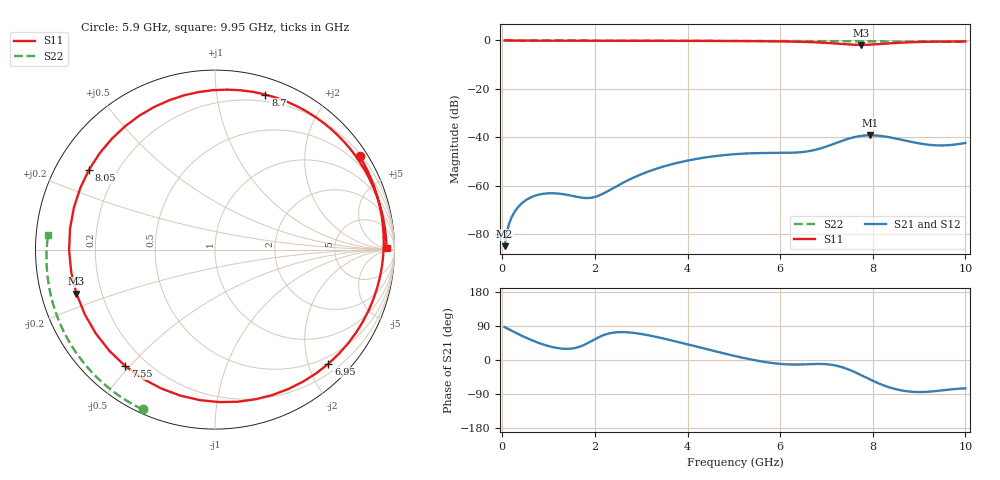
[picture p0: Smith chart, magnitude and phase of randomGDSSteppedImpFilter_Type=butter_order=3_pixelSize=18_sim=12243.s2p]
! freq	dB(S11)	phase(S11)	dB(S12)	phase(S12)
!  dB(S21)	phase(S21)	dB(S22)	phase(S22)
!S-par simulation data
#  GHz  S  DB  R 50
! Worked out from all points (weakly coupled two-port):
!   200 points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, 50 MHz to 10 GHz, reference 50 ohm
!   highest |S21| = -39.22 dB at 7.95 GHz (marker M1); lowest = -85.1 dB at 50 MHz (marker M2)
!   lowest |S11| = -1.8 dB at 7.75 GHz (marker M3), VSWR 9.52, Z = 5.38 - j7.68 ohm
!   |S11| at or under -10 dB: nowhere
!   |S22| runs from -0.6 to 0.0 dB; largest |S21 - S12| = 0
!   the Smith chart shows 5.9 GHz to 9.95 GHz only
!   S11 on the Smith chart (normalised r, x): 5.9 GHz: 0.26, +3.38; 6.95 GHz: 0.36, -2.35; 7.55 GHz: 0.12, -0.49; 8.05 GHz: 0.10, +0.29; 8.7 GHz: 0.14, +1.37; 9.95 GHz: 43, +8
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0.05  -0.00 -5.4  -85.09 86.8  -85.09 86.8  -0.00 -1.1
0.35  -0.05 -36.9  -68.73 68.2  -68.73 68.2  -0.01 -7.4
0.8  -0.09 -79.1  -63.73 44.4  -63.73 44.4  -0.02 -16.9
1.2  -0.11 -110.0  -63.32 31.3  -63.32 31.3  -0.03 -25.3
1.75  -0.12 -144.0  -65.12 38.8  -65.12 38.8  -0.05 -36.7
2.5  -0.13 179.2  -59.97 73.4  -59.97 73.4  -0.07 -51.8
3.4  -0.15 141.9  -52.62 59.0  -52.62 59.0  -0.09 -69.3
4.25  -0.18 108.1  -48.81 33.6  -48.81 33.6  -0.12 -85.1
5.05  -0.24 74.5  -47.00 9.7  -47.00 9.7  -0.15 -99.5
5.9  -0.36 32.8  -46.53 -9.0  -46.53 -9.0  -0.20 -114.4
6.7  -0.72 -21.5  -45.50 -10.7  -45.50 -10.7  -0.25 -128.1
6.95  -0.95 -45.2  -44.19 -10.7  -44.19 -10.7  -0.27 -132.3
7.3  -1.41 -88.4  -41.77 -17.6  -41.77 -17.6  -0.30 -138.2
7.55  -1.73 -127.6  -40.23 -28.6  -40.23 -28.6  -0.32 -142.5
7.75  -1.83 -162.3  -39.47 -40.0  -39.47 -40.0  -0.34 -145.9
7.95  -1.72 163.5  -39.22 -51.9  -39.22 -51.9  -0.36 -149.3
8.05  -1.61 147.7  -39.29 -57.6  -39.29 -57.6  -0.37 -151.0
8.35  -1.21 107.1  -40.02 -71.9  -40.02 -71.9  -0.40 -156.1
8.7  -0.83 72.0  -41.41 -81.9  -41.41 -81.9  -0.44 -162.2
9.25  -0.53 33.9  -43.23 -83.3  -43.23 -83.3  -0.50 -172.0
9.95  -0.39 0.5  -42.58 -75.1  -42.58 -75.1  -0.59 175.1
10  -0.39 -1.5  -42.42 -74.8  -42.42 -74.8  -0.60 174.2
